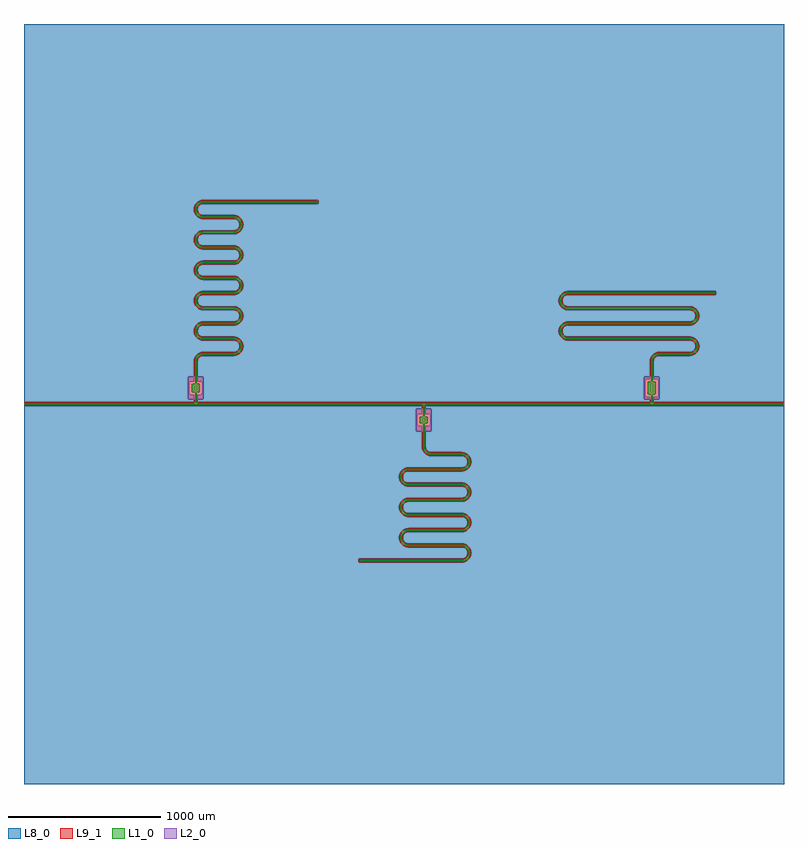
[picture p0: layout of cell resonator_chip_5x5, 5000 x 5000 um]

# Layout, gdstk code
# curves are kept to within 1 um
from math import pi, radians
import gdstk
lib = gdstk.Library(unit=1e-6, precision=1e-09)
def R(c, l, rs):  # rectangles x0, y0, x1, y1
    for r in rs: c.add(gdstk.rectangle(r[:2], r[2:], *l))
def P(c, l, *ps):  # polygons
    for p in ps: c.add(gdstk.Polygon(p, *l))
L1_0 = (1, 0)
L2_0 = (2, 0)
L8_0 = (8, 0)
L9_1 = (9, 1)

compass_92108daa = lib.new_cell('compass_92108daa')
R(compass_92108daa, L1_0, [(-5,-5,5,5)])

rectangle_92108daa = lib.new_cell('rectangle_92108daa')
rectangle_92108daa.add(gdstk.Reference(compass_92108daa, (5,5)))

compass_6da39e71 = lib.new_cell('compass_6da39e71')
R(compass_6da39e71, L9_1, [(-11,-11,11,11)])

rectangle_6da39e71 = lib.new_cell('rectangle_6da39e71')
rectangle_6da39e71.add(gdstk.Reference(compass_6da39e71, (11,11)))

straight_4537b3f4 = lib.new_cell('straight_4537b3f4')
R(straight_4537b3f4, L1_0, [(0,-5,25,5)])
R(straight_4537b3f4, L9_1, [(0,-11,25,11)])

straight_cpw_length25p0 = lib.new_cell('straight_cpw_length25p0')
straight_cpw_length25p0.add(gdstk.Reference(straight_4537b3f4, (0,0)))

tee_cpw = lib.new_cell('tee_cpw')
tee_cpw.add(gdstk.Reference(rectangle_92108daa, (-5,-5)))
tee_cpw.add(gdstk.Reference(rectangle_6da39e71, (-11,-11)))
tee_cpw.add(gdstk.Reference(straight_cpw_length25p0, (-30,0)))
tee_cpw.add(gdstk.Reference(straight_cpw_length25p0, (5,0)))
tee_cpw.add(gdstk.Reference(straight_cpw_length25p0, (0,5), rotation=pi/2))

straight_b8156830 = lib.new_cell('straight_b8156830')
R(straight_b8156830, L1_0, [(0,-5,1100,5)])
R(straight_b8156830, L9_1, [(0,-11,1100,11)])

straight_cpw_length1100 = lib.new_cell('straight_cpw_length1100')
straight_cpw_length1100.add(gdstk.Reference(straight_b8156830, (0,0)))

straight_48513559 = lib.new_cell('straight_48513559')
R(straight_48513559, L1_0, [(0,-5,340,5)])
R(straight_48513559, L9_1, [(0,-11,340,11)])

straight_cpw_length340 = lib.new_cell('straight_cpw_length340')
straight_cpw_length340.add(gdstk.Reference(straight_48513559, (0,0)))

unnamed_f8605676 = lib.new_cell('Unnamed_f8605676')
P(unnamed_f8605676, L1_0, [(-27.596,9.025),(-32.01,5.024),(-75,5),(-75,-5),(-31.525,-5.096),(-27.715,-8.549),(-26.635,-21.567),(-21.567,-26.635),(7.435,-27.5),(11.213,-25.843),(12.469,-21.978),(9.998,-18.173),(-11.569,-16.639),(-15.593,-13.38),(-17.503,-7.5),(-15.593,-1.62),(-11.569,1.639),(10.437,3.458),(12.497,7.5),(10.843,11.213),(-12.502,13.837),(-17.285,20.42),(-16.164,27.5),(-18.545,27.445),(-23.378,25.59),(-26.635,21.567)],
  [(31.525,5.096),(27.715,8.549),(26.635,21.567),(21.567,26.635),(-8.022,27.469),(-12.065,24.532),(-12.065,20.468),(-9.532,17.935),(9.58,17.285),(16.163,12.502),(17.285,5.42),(13.38,-0.593),(8.546,-2.449),(-8.539,-2.613),(-11.542,-4.563),(-12.497,-7.5),(-11.542,-10.437),(-8.539,-12.387),(8.546,-12.551),(13.38,-14.407),(17.285,-20.42),(16.164,-27.5),(21.567,-26.635),(25.59,-23.378),(27.445,-18.545),(27.715,-8.549),(30.587,-5.381),(75,-5),(75,5)])

unnamed_d2767df1 = lib.new_cell('Unnamed_d2767df1')
P(unnamed_d2767df1, L2_0, [(-47.01,11.024),(-42.596,15.025),(-42.011,35.59),(-36.567,41.635),(32.5,42.5),(38.378,40.59),(41.635,36.567),(42.524,15.51),(44.328,12.135),(47.5,11),(75,11),(75,50),(-75,50),(-75,11)],
  [(42.445,-33.545),(39.931,-39.191),(33.545,-42.445),(-34.579,-42.281),(-39.191,-39.931),(-42.011,-35.59),(-42.524,-15.51),(-44.328,-12.135),(-47.5,-11),(-75,-11),(-75,-50),(75,-50),(75,-11),(47.01,-11.024),(42.596,-15.025)])

round_rectangle_d51f9ed1 = lib.new_cell('round_rectangle_d51f9ed1')
R(round_rectangle_d51f9ed1, L9_1, [(-75,-50,75,50)])

finger_cap_6a03dcef = lib.new_cell('finger_cap_6a03dcef')
finger_cap_6a03dcef.add(gdstk.Reference(unnamed_f8605676, (0,0)))
finger_cap_6a03dcef.add(gdstk.Reference(unnamed_d2767df1, (0,0)))
finger_cap_6a03dcef.add(gdstk.Reference(round_rectangle_d51f9ed1, (0,0)))

straight_65ad680c = lib.new_cell('straight_65ad680c')
R(straight_65ad680c, L1_0, [(0,-5,100,5)])
R(straight_65ad680c, L9_1, [(0,-11,100,11)])

straight_cpw_length100p0 = lib.new_cell('straight_cpw_length100p0')
straight_cpw_length100p0.add(gdstk.Reference(straight_65ad680c, (0,0)))

bend_circular_f007348f = lib.new_cell('bend_circular_f007348f')
P(bend_circular_f007348f, L1_0, [(0,-5),(10.764,-3.936),(21.112,-0.787),(30.643,4.327),(38.793,11.011),(45.673,19.357),(50.787,28.888),(53.936,39.236),(55,50),(45,50),(42.448,35.061),(34.938,21.639),(27.828,14.636),(19.349,9.372),(10.14,6.157),(0,5)])

bend_circular_29112c67 = lib.new_cell('bend_circular_29112c67')
P(bend_circular_29112c67, L9_1, [(0,-11),(11.636,-9.88),(23.13,-6.445),(33.73,-0.826),(43.024,6.758),(50.655,16.014),(56.327,26.585),(59.82,38.062),(61,50),(39,50),(36.088,35.212),(27.647,22.493),(14.788,13.912),(0,11)])

bend_cpw_circular_radius = lib.new_cell('bend_cpw_circular_radius_um50p0')
bend_cpw_circular_radius.add(gdstk.Reference(bend_circular_f007348f, (0,0)))
bend_cpw_circular_radius.add(gdstk.Reference(bend_circular_29112c67, (0,0)))

straight_8fd375c3 = lib.new_cell('straight_8fd375c3')
R(straight_8fd375c3, L1_0, [(0,-5,200,5)])
R(straight_8fd375c3, L9_1, [(0,-11,200,11)])

straight_cpw_length200p0 = lib.new_cell('straight_cpw_length200p0')
straight_cpw_length200p0.add(gdstk.Reference(straight_8fd375c3, (0,0)))

bend_circular_932d1048 = lib.new_cell('bend_circular_932d1048')
P(bend_circular_932d1048, L1_0, [(0,-5),(17.221,-8.425),(31.82,-18.18),(41.575,-32.779),(45,-50),(42.389,-65.107),(34.857,-78.46),(27.93,-85.283),(19.496,-90.558),(10.108,-93.85),(0,-95),(0,-105),(10.73,-103.943),(21.048,-100.813),(30.556,-95.731),(38.891,-88.891),(45.731,-80.556),(50.813,-71.048),(53.943,-60.73),(55,-50),(53.656,-37.916),(49.808,-26.672),(43.465,-16.299),(34.999,-7.572),(20.535,1.023),(4.15,4.843),(0,5)])

bend_circular_7dd6c8cd = lib.new_cell('bend_circular_7dd6c8cd')
P(bend_circular_7dd6c8cd, L9_1, [(0,-11),(14.743,-13.894),(27.438,-22.284),(35.956,-34.894),(39,-50),(36.106,-64.743),(27.716,-77.438),(15.106,-85.956),(0,-89),(0,-111),(11.901,-109.828),(23.344,-106.357),(33.89,-100.72),(43.134,-93.134),(50.72,-83.89),(56.357,-73.344),(59.828,-61.901),(61,-50),(59.153,-35.104),(53.579,-20.839),(44.627,-8.413),(32.862,1.392),(16.971,8.592),(0,11)])

bend_cpw_circular_e485e0 = lib.new_cell('bend_cpw_circular_e485e01f')
bend_cpw_circular_e485e0.add(gdstk.Reference(bend_circular_932d1048, (0,0)))
bend_cpw_circular_e485e0.add(gdstk.Reference(bend_circular_7dd6c8cd, (0,0)))

straight_75582163 = lib.new_cell('straight_75582163')
R(straight_75582163, L1_0, [(0,-5,200,5)])
R(straight_75582163, L9_1, [(0,-11,200,11)])

straight_cpw_length200 = lib.new_cell('straight_cpw_length200')
straight_cpw_length200.add(gdstk.Reference(straight_75582163, (0,0)))

bend_circular_996459f7 = lib.new_cell('bend_circular_996459f7')
P(bend_circular_996459f7, L1_0, [(0,-5),(10.73,-3.943),(21.048,-0.813),(30.556,4.269),(38.891,11.109),(45.731,19.444),(50.813,28.952),(53.943,39.27),(55,50),(53.943,60.73),(50.813,71.048),(45.731,80.556),(38.891,88.891),(30.556,95.731),(21.048,100.813),(10.73,103.943),(0,105),(0,95),(10.108,93.85),(19.496,90.558),(27.93,85.283),(34.857,78.46),(42.389,65.107),(45,50),(42.389,34.893),(34.857,21.54),(27.93,14.717),(19.496,9.442),(10.108,6.15),(0,5)])

bend_circular_fabf7ef7 = lib.new_cell('bend_circular_fabf7ef7')
P(bend_circular_fabf7ef7, L9_1, [(0,-11),(11.901,-9.828),(23.344,-6.357),(33.89,-0.72),(43.134,6.866),(50.72,16.11),(56.357,26.656),(59.828,38.099),(61,50),(59.828,61.901),(56.357,73.344),(50.72,83.89),(43.134,93.134),(33.89,100.72),(23.344,106.357),(11.901,109.828),(0,111),(0,89),(14.743,86.106),(27.438,77.716),(35.956,65.106),(39,50),(36.106,35.257),(27.716,22.562),(15.106,14.044),(0,11)])

bend_cpw_circular_angle_ = lib.new_cell('bend_cpw_circular_angle_deg180_radius_um50p0')
bend_cpw_circular_angle_.add(gdstk.Reference(bend_circular_996459f7, (0,0)))
bend_cpw_circular_angle_.add(gdstk.Reference(bend_circular_fabf7ef7, (0,0)))

straight_671bcddd = lib.new_cell('straight_671bcddd')
R(straight_671bcddd, L1_0, [(0,-5,550.287,5)])
R(straight_671bcddd, L9_1, [(0,-11,550.287,11)])

straight_cpw_length550p2 = lib.new_cell('straight_cpw_length550p28733')
straight_cpw_length550p2.add(gdstk.Reference(straight_671bcddd, (0,0)))

compass_87d9bab0 = lib.new_cell('compass_87d9bab0')
R(compass_87d9bab0, L9_1, [(-3,-11,3,11)])

rectangle_87d9bab0 = lib.new_cell('rectangle_87d9bab0')
rectangle_87d9bab0.add(gdstk.Reference(compass_87d9bab0, (3,11)))

open_stud = lib.new_cell('open_stud')
open_stud.add(gdstk.Reference(rectangle_87d9bab0, (0,0)))

quarter_wave_resonator_c = lib.new_cell('quarter_wave_resonator_circular_meander_56364adf')
quarter_wave_resonator_c.add(gdstk.Reference(straight_cpw_length100p0, (0,0)))
quarter_wave_resonator_c.add(gdstk.Reference(bend_cpw_circular_radius, (100,0)))
quarter_wave_resonator_c.add(gdstk.Reference(straight_cpw_length200p0, (150,50), rotation=pi/2))
quarter_wave_resonator_c.add(gdstk.Reference(bend_cpw_circular_e485e0, (150,250), rotation=pi/2))
quarter_wave_resonator_c.add(gdstk.Reference(straight_cpw_length200, (250,250), rotation=3*pi/2))
quarter_wave_resonator_c.add(gdstk.Reference(bend_cpw_circular_angle_, (250,50), rotation=3*pi/2))
quarter_wave_resonator_c.add(gdstk.Reference(straight_cpw_length200, (350,50), rotation=pi/2))
quarter_wave_resonator_c.add(gdstk.Reference(bend_cpw_circular_e485e0, (350,250), rotation=pi/2))
quarter_wave_resonator_c.add(gdstk.Reference(straight_cpw_length200, (450,250), rotation=3*pi/2))
quarter_wave_resonator_c.add(gdstk.Reference(bend_cpw_circular_angle_, (450,50), rotation=3*pi/2))
quarter_wave_resonator_c.add(gdstk.Reference(straight_cpw_length200, (550,50), rotation=pi/2))
quarter_wave_resonator_c.add(gdstk.Reference(bend_cpw_circular_e485e0, (550,250), rotation=pi/2))
quarter_wave_resonator_c.add(gdstk.Reference(straight_cpw_length200, (650,250), rotation=3*pi/2))
quarter_wave_resonator_c.add(gdstk.Reference(bend_cpw_circular_angle_, (650,50), rotation=3*pi/2))
quarter_wave_resonator_c.add(gdstk.Reference(straight_cpw_length200, (750,50), rotation=pi/2))
quarter_wave_resonator_c.add(gdstk.Reference(bend_cpw_circular_e485e0, (750,250), rotation=pi/2))
quarter_wave_resonator_c.add(gdstk.Reference(straight_cpw_length200, (850,250), rotation=3*pi/2))
quarter_wave_resonator_c.add(gdstk.Reference(bend_cpw_circular_angle_, (850,50), rotation=3*pi/2))
quarter_wave_resonator_c.add(gdstk.Reference(straight_cpw_length200, (950,50), rotation=pi/2))
quarter_wave_resonator_c.add(gdstk.Reference(bend_cpw_circular_e485e0, (950,250), rotation=pi/2))
quarter_wave_resonator_c.add(gdstk.Reference(straight_cpw_length200, (1050,250), rotation=3*pi/2))
quarter_wave_resonator_c.add(gdstk.Reference(bend_cpw_circular_angle_, (1050,50), rotation=3*pi/2))
quarter_wave_resonator_c.add(gdstk.Reference(straight_cpw_length200, (1150,50), rotation=pi/2))
quarter_wave_resonator_c.add(gdstk.Reference(straight_cpw_length550p2, (1150,250), rotation=pi/2))
quarter_wave_resonator_c.add(gdstk.Reference(open_stud, (1161,800.287), rotation=pi/2))

build_resonator_741041c7 = lib.new_cell('build_resonator_741041c7')
build_resonator_741041c7.add(gdstk.Reference(tee_cpw, (0,0)))
build_resonator_741041c7.add(gdstk.Reference(straight_cpw_length1100, (-30,0), rotation=pi))
build_resonator_741041c7.add(gdstk.Reference(straight_cpw_length340, (30,0)))
build_resonator_741041c7.add(gdstk.Reference(finger_cap_6a03dcef, (0,105), rotation=pi/2))
build_resonator_741041c7.add(gdstk.Reference(quarter_wave_resonator_c, (0,180), rotation=pi/2, x_reflection=True))

unnamed_66ed3d70 = lib.new_cell('Unnamed_66ed3d70')
P(unnamed_66ed3d70, L1_0, [(-42.596,9.025),(-47.01,5.024),(-75,5),(-75,-5),(-45.143,-5.59),(-42.596,-9.025),(-41.635,-21.567),(-36.567,-26.635),(22.435,-27.5),(27.065,-24.532),(26.827,-20.002),(23.022,-17.531),(-25.591,-17.014),(-29.934,-14.194),(-32.449,-8.546),(-30.593,-1.62),(-24.58,2.285),(24.044,2.748),(27.497,7.5),(24.532,12.065),(-25.591,12.986),(-31.639,18.431),(-32.449,23.546),(-31.164,27.5),(-32.5,27.5),(-37.5,26.16),(-41.16,22.5)],
  [(46.525,5.096),(42.715,8.549),(41.16,22.5),(34.579,27.281),(-23.022,27.469),(-27.387,23.539),(-26.542,19.563),(-23.022,17.531),(22.565,17.5),(29.194,14.934),(31.639,11.569),(32.449,6.454),(30.593,1.62),(26.569,-1.639),(-23.022,-2.531),(-26.213,-4.157),(-27.497,-7.5),(-26.213,-10.843),(-23.022,-12.469),(25.591,-12.986),(31.639,-18.431),(32.449,-23.546),(31.164,-27.5),(36.567,-26.635),(41.16,-22.5),(42.596,-9.025),(45.143,-5.59),(75,-5),(75,5)])

unnamed_54cf206d = lib.new_cell('Unnamed_54cf206d')
P(unnamed_54cf206d, L2_0, [(-62.01,11.024),(-57.596,15.025),(-57.011,35.59),(-54.931,39.191),(-50.59,42.011),(47.5,42.5),(53.378,40.59),(57.011,35.59),(58.635,12.828),(62.01,11.024),(75,11),(75,50),(-75,50),(-75,11)],
  [(57.445,-33.545),(54.931,-39.191),(48.545,-42.445),(-49.579,-42.281),(-54.191,-39.931),(-57.011,-35.59),(-58.635,-12.828),(-62.01,-11.024),(-75,-11),(-75,-50),(75,-50),(75,-11),(62.01,-11.024),(57.596,-15.025)])

finger_cap_2d72bd7e = lib.new_cell('finger_cap_2d72bd7e')
finger_cap_2d72bd7e.add(gdstk.Reference(unnamed_66ed3d70, (0,0)))
finger_cap_2d72bd7e.add(gdstk.Reference(unnamed_54cf206d, (0,0)))
finger_cap_2d72bd7e.add(gdstk.Reference(round_rectangle_d51f9ed1, (0,0)))

straight_62f3e33c = lib.new_cell('straight_62f3e33c')
R(straight_62f3e33c, L1_0, [(0,-5,800,5)])
R(straight_62f3e33c, L9_1, [(0,-11,800,11)])

straight_cpw_length800 = lib.new_cell('straight_cpw_length800')
straight_cpw_length800.add(gdstk.Reference(straight_62f3e33c, (0,0)))

straight_e54fd979 = lib.new_cell('straight_e54fd979')
R(straight_e54fd979, L1_0, [(0,-5,164.204,5)])
R(straight_e54fd979, L9_1, [(0,-11,164.204,11)])

straight_cpw_length164p2 = lib.new_cell('straight_cpw_length164p204456')
straight_cpw_length164p2.add(gdstk.Reference(straight_e54fd979, (0,0)))

c_quarter_wave_resonator_c = lib.new_cell('quarter_wave_resonator_circular_meander_84c7ca04')
c_quarter_wave_resonator_c.add(gdstk.Reference(straight_cpw_length100p0, (0,0)))
c_quarter_wave_resonator_c.add(gdstk.Reference(bend_cpw_circular_radius, (100,0)))
c_quarter_wave_resonator_c.add(gdstk.Reference(straight_cpw_length200p0, (150,50), rotation=pi/2))
c_quarter_wave_resonator_c.add(gdstk.Reference(bend_cpw_circular_e485e0, (150,250), rotation=pi/2))
c_quarter_wave_resonator_c.add(gdstk.Reference(straight_cpw_length800, (250,250), rotation=3*pi/2))
c_quarter_wave_resonator_c.add(gdstk.Reference(bend_cpw_circular_angle_, (250,-550), rotation=3*pi/2))
c_quarter_wave_resonator_c.add(gdstk.Reference(straight_cpw_length800, (350,-550), rotation=pi/2))
c_quarter_wave_resonator_c.add(gdstk.Reference(bend_cpw_circular_e485e0, (350,250), rotation=pi/2))
c_quarter_wave_resonator_c.add(gdstk.Reference(straight_cpw_length800, (450,250), rotation=3*pi/2))
c_quarter_wave_resonator_c.add(gdstk.Reference(bend_cpw_circular_angle_, (450,-550), rotation=3*pi/2))
c_quarter_wave_resonator_c.add(gdstk.Reference(straight_cpw_length800, (550,-550), rotation=pi/2))
c_quarter_wave_resonator_c.add(gdstk.Reference(straight_cpw_length164p2, (550,250), rotation=pi/2))
c_quarter_wave_resonator_c.add(gdstk.Reference(open_stud, (561,414.204), rotation=pi/2))

build_resonator_finger_o = lib.new_cell('build_resonator_finger_overlap_um55')
build_resonator_finger_o.add(gdstk.Reference(tee_cpw, (0,0)))
build_resonator_finger_o.add(gdstk.Reference(straight_cpw_length1100, (-30,0), rotation=pi))
build_resonator_finger_o.add(gdstk.Reference(straight_cpw_length340, (30,0)))
build_resonator_finger_o.add(gdstk.Reference(finger_cap_2d72bd7e, (0,105), rotation=pi/2))
build_resonator_finger_o.add(gdstk.Reference(c_quarter_wave_resonator_c, (0,180), rotation=pi/2, x_reflection=True))

unnamed_cbf86004 = lib.new_cell('Unnamed_cbf86004')
P(unnamed_cbf86004, L1_0, [(-22.596,9.025),(-27.01,5.024),(-75,5),(-75,-5),(-26.049,-5.215),(-22.881,-8.087),(-22.281,-19.579),(-18.378,-25.59),(-13.545,-27.445),(4.044,-27.252),(7.252,-24.044),(6.542,-19.563),(3.539,-17.613),(-4.58,-17.285),(-8.38,-15.593),(-11.639,-11.569),(-12.449,-6.454),(-10.593,-1.62),(-7.502,1.163),(5.843,3.787),(7.469,6.978),(6.542,10.437),(4.044,12.252),(-4.58,12.715),(-9.194,15.066),(-12.285,20.42),(-11.164,27.5),(-12.5,27.5),(-17.5,26.16),(-21.16,22.5)],
  [(26.525,5.096),(22.881,8.087),(22.011,20.59),(17.5,26.16),(13.545,27.445),(-3.022,27.469),(-7.065,24.532),(-7.252,20.956),(-5.437,18.458),(6.569,16.639),(12.014,10.591),(12.285,5.42),(9.194,0.066),(4.58,-2.285),(-4.532,-2.935),(-7.497,-7.5),(-4.532,-12.065),(4.58,-12.715),(9.934,-15.806),(12.449,-21.454),(11.164,-27.5),(16.567,-26.635),(20.59,-23.378),(22.445,-18.545),(22.715,-8.549),(26.049,-5.215),(75,-5),(75,5)])

unnamed_15232ae6 = lib.new_cell('Unnamed_15232ae6')
P(unnamed_15232ae6, L2_0, [(-42.01,11.024),(-37.596,15.025),(-37.011,35.59),(-31.567,41.635),(27.5,42.5),(33.378,40.59),(36.635,36.567),(37.524,15.51),(39.722,11.843),(75,11),(75,50),(-75,50),(-75,11)],
  [(37.445,-33.545),(34.931,-39.191),(28.545,-42.445),(-29.579,-42.281),(-34.191,-39.931),(-37.011,-35.59),(-37.524,-15.51),(-39.722,-11.843),(-75,-11),(-75,-50),(75,-50),(75,-11),(40.143,-11.59),(37.524,-15.51)])

finger_cap_b7999120 = lib.new_cell('finger_cap_b7999120')
finger_cap_b7999120.add(gdstk.Reference(unnamed_cbf86004, (0,0)))
finger_cap_b7999120.add(gdstk.Reference(unnamed_15232ae6, (0,0)))
finger_cap_b7999120.add(gdstk.Reference(round_rectangle_d51f9ed1, (0,0)))

straight_8cc51615 = lib.new_cell('straight_8cc51615')
R(straight_8cc51615, L1_0, [(0,-5,350,5)])
R(straight_8cc51615, L9_1, [(0,-11,350,11)])

straight_cpw_length350 = lib.new_cell('straight_cpw_length350')
straight_cpw_length350.add(gdstk.Reference(straight_8cc51615, (0,0)))

straight_acb8a7a9 = lib.new_cell('straight_acb8a7a9')
R(straight_acb8a7a9, L1_0, [(0,-5,321.547,5)])
R(straight_acb8a7a9, L9_1, [(0,-11,321.547,11)])

straight_cpw_length321p5 = lib.new_cell('straight_cpw_length321p547146')
straight_cpw_length321p5.add(gdstk.Reference(straight_acb8a7a9, (0,0)))

c_quarter_wave_resonator_c_ = lib.new_cell('quarter_wave_resonator_circular_meander_97438576')
c_quarter_wave_resonator_c_.add(gdstk.Reference(straight_cpw_length100p0, (0,0)))
c_quarter_wave_resonator_c_.add(gdstk.Reference(bend_cpw_circular_radius, (100,0)))
c_quarter_wave_resonator_c_.add(gdstk.Reference(straight_cpw_length200p0, (150,50), rotation=pi/2))
c_quarter_wave_resonator_c_.add(gdstk.Reference(bend_cpw_circular_e485e0, (150,250), rotation=pi/2))
c_quarter_wave_resonator_c_.add(gdstk.Reference(straight_cpw_length350, (250,250), rotation=3*pi/2))
c_quarter_wave_resonator_c_.add(gdstk.Reference(bend_cpw_circular_angle_, (250,-100), rotation=3*pi/2))
c_quarter_wave_resonator_c_.add(gdstk.Reference(straight_cpw_length350, (350,-100), rotation=pi/2))
c_quarter_wave_resonator_c_.add(gdstk.Reference(bend_cpw_circular_e485e0, (350,250), rotation=pi/2))
c_quarter_wave_resonator_c_.add(gdstk.Reference(straight_cpw_length350, (450,250), rotation=3*pi/2))
c_quarter_wave_resonator_c_.add(gdstk.Reference(bend_cpw_circular_angle_, (450,-100), rotation=3*pi/2))
c_quarter_wave_resonator_c_.add(gdstk.Reference(straight_cpw_length350, (550,-100), rotation=pi/2))
c_quarter_wave_resonator_c_.add(gdstk.Reference(bend_cpw_circular_e485e0, (550,250), rotation=pi/2))
c_quarter_wave_resonator_c_.add(gdstk.Reference(straight_cpw_length350, (650,250), rotation=3*pi/2))
c_quarter_wave_resonator_c_.add(gdstk.Reference(bend_cpw_circular_angle_, (650,-100), rotation=3*pi/2))
c_quarter_wave_resonator_c_.add(gdstk.Reference(straight_cpw_length350, (750,-100), rotation=pi/2))
c_quarter_wave_resonator_c_.add(gdstk.Reference(bend_cpw_circular_e485e0, (750,250), rotation=pi/2))
c_quarter_wave_resonator_c_.add(gdstk.Reference(straight_cpw_length350, (850,250), rotation=3*pi/2))
c_quarter_wave_resonator_c_.add(gdstk.Reference(straight_cpw_length321p5, (850,-100), rotation=3*pi/2))
c_quarter_wave_resonator_c_.add(gdstk.Reference(open_stud, (839,-421.547), rotation=3*pi/2))

build_resonator_eca9d666 = lib.new_cell('build_resonator_eca9d666')
build_resonator_eca9d666.add(gdstk.Reference(tee_cpw, (0,0)))
build_resonator_eca9d666.add(gdstk.Reference(straight_cpw_length1100, (-30,0), rotation=pi))
build_resonator_eca9d666.add(gdstk.Reference(straight_cpw_length340, (30,0)))
build_resonator_eca9d666.add(gdstk.Reference(finger_cap_b7999120, (0,105), rotation=pi/2))
build_resonator_eca9d666.add(gdstk.Reference(c_quarter_wave_resonator_c_, (0,180), rotation=pi/2, x_reflection=True))

straight_d40176a0 = lib.new_cell('straight_d40176a0')
R(straight_d40176a0, L1_0, [(0,-5,500,5)])
R(straight_d40176a0, L9_1, [(0,-11,500,11)])

straight_cpw_length500 = lib.new_cell('straight_cpw_length500')
straight_cpw_length500.add(gdstk.Reference(straight_d40176a0, (0,0)))

unnamed_fb434074 = lib.new_cell('Unnamed_fb434074')
R(unnamed_fb434074, L8_0, [(-1359,11,-1351.06,30), (-1112.647,1341,-1081.001,2500)])
P(unnamed_fb434074, L8_0, [(-1381,30),(-1420,30),(-1420,180),(-1381,180),(-1380.997,280.616),(-1379.88,291.636),(-1376.088,303.983),(-1369.781,315.254),(-1361.243,324.945),(-1351.06,332.5),(-1351.06,427.5),(-1363.566,437.303),(-1372.98,449.766),(-1378.922,464.212),(-1381,480),(-1378.922,495.788),(-1372.98,510.234),(-1363.566,522.697),(-1351.06,532.5),(-1351.06,627.5),(-1363.566,637.303),(-1372.98,649.766),(-1378.922,664.212),(-1381,680),(-1378.922,695.788),(-1372.98,710.234),(-1363.566,722.697),(-1351.06,732.5),(-1351.06,827.5),(-1363.566,837.303),(-1372.98,849.766),(-1378.922,864.212),(-1381,880),(-1378.922,895.788),(-1372.98,910.234),(-1363.566,922.697),(-1351.06,932.5),(-1351.06,1027.5),(-1363.566,1037.303),(-1372.98,1049.766),(-1378.922,1064.212),(-1381,1080),(-1378.922,1095.788),(-1372.98,1110.234),(-1363.566,1122.697),(-1351.06,1132.5),(-1351.06,1227.5),(-1363.566,1237.303),(-1372.98,1249.766),(-1378.922,1264.212),(-1381,1280),(-1378.922,1295.788),(-1372.98,1310.234),(-1363.566,1322.697),(-1351.06,1332.5),(-1351.06,2500),(-2500,2500),(-2500,11),(-1381,11)],
  [(-1351.06,1303.586),(-1356.993,1292.35),(-1359,1280),(-1356.993,1267.65),(-1351.06,1256.414)],
  [(-1351.06,1103.586),(-1356.993,1092.35),(-1359,1080),(-1356.993,1067.65),(-1351.06,1056.414)],
  [(-1351.06,903.586),(-1356.993,892.35),(-1359,880),(-1356.993,867.65),(-1351.06,856.414)],
  [(-1351.06,703.586),(-1356.993,692.35),(-1359,680),(-1356.993,667.65),(-1351.06,656.414)],
  [(-1351.06,503.586),(-1356.993,492.35),(-1359,480),(-1356.993,467.65),(-1351.06,456.414)],
  [(-1351.06,303.585),(-1356.519,293.688),(-1358.916,282.559),(-1359,180),(-1351.06,180)],
  [(-1351.03,1332.518),(-1336.971,1338.592),(-1322.149,1340.962),(-1112.647,1341),(-1112.647,2500),(-1351.06,2500)],
  [(-1320,1319),(-1328.952,1317.959),(-1337.425,1314.891),(-1344.968,1309.96),(-1351.06,1303.586),(-1351.06,1256.414),(-1343.272,1248.704),(-1333.83,1243.534),(-1320.589,1241.004),(-1112.647,1240.555),(-1112.647,1319)],
  [(-1351.03,1132.518),(-1337.266,1138.505),(-1322.456,1140.951),(-1112.647,1141.7),(-1112.647,1218.3),(-1322.456,1219.049),(-1337.266,1221.495),(-1351.06,1227.5)],
  [(-1112.647,1119.445),(-1320.393,1118.998),(-1330.094,1117.671),(-1341.83,1112.318),(-1351.06,1103.586),(-1351.06,1056.414),(-1338.471,1045.651),(-1322.747,1041.097),(-1112.647,1040.555)],
  [(-1351.03,932.518),(-1337.266,938.505),(-1322.456,940.951),(-1112.647,941.7),(-1112.647,1018.3),(-1322.456,1019.049),(-1337.266,1021.495),(-1351.06,1027.5)],
  [(-1112.647,919.445),(-1320.393,918.998),(-1330.094,917.671),(-1341.83,912.318),(-1351.06,903.586),(-1351.06,856.414),(-1338.471,845.651),(-1322.747,841.097),(-1112.647,840.555)],
  [(-1351.03,732.518),(-1337.266,738.505),(-1322.456,740.951),(-1112.647,741.7),(-1112.647,818.3),(-1322.456,819.049),(-1337.266,821.495),(-1351.06,827.5)],
  [(-1112.647,719.445),(-1320.393,718.998),(-1330.094,717.671),(-1341.83,712.318),(-1351.06,703.586),(-1351.06,656.414),(-1338.471,645.651),(-1322.747,641.097),(-1112.647,640.555)],
  [(-1351.03,532.518),(-1337.266,538.505),(-1322.456,540.951),(-1112.647,541.7),(-1112.647,618.3),(-1322.456,619.049),(-1337.266,621.495),(-1351.06,627.5)],
  [(-1112.647,519.445),(-1320.393,518.998),(-1330.094,517.671),(-1341.83,512.318),(-1351.06,503.586),(-1351.06,456.414),(-1338.471,445.651),(-1322.747,441.097),(-1112.647,440.555)],
  [(-1350.855,332.621),(-1337.024,338.576),(-1322.156,340.962),(-1112.647,341.7),(-1112.647,418.3),(-1322.456,419.049),(-1337.266,421.495),(-1351.06,427.5)],
  [(-1112.647,319.445),(-1322.559,318.916),(-1338.178,314.505),(-1350.891,303.807),(-1351.06,180),(-1320,180),(-1320,30),(-1351.06,30),(-1351.06,11),(-1112.647,11)],
  [(-1112.647,1319),(-1112.647,1240.555),(-1095.808,1235.998),(-1081.001,1226.905),(-1081.001,1319)],
  [(-1112.391,1141.749),(-1099.992,1146.523),(-1089.79,1155.335),(-1083.263,1166.908),(-1081.001,1180.196),(-1083.397,1193.462),(-1090.04,1204.968),(-1100.161,1213.577),(-1112.647,1218.3)],
  [(-1081.001,1133.095),(-1095.808,1124.002),(-1112.647,1119.445),(-1112.647,1040.555),(-1095.808,1035.998),(-1081.001,1026.905)],
  [(-1112.391,941.749),(-1099.992,946.523),(-1089.79,955.335),(-1083.263,966.908),(-1081.001,980.196),(-1083.397,993.462),(-1090.04,1004.968),(-1100.161,1013.577),(-1112.647,1018.3)],
  [(-1081.001,933.095),(-1095.808,924.002),(-1112.647,919.445),(-1112.647,840.555),(-1095.808,835.998),(-1081.001,826.905)],
  [(-1112.391,741.749),(-1099.992,746.523),(-1089.79,755.335),(-1083.263,766.908),(-1081.001,780.196),(-1083.397,793.462),(-1090.04,804.968),(-1100.161,813.577),(-1112.647,818.3)],
  [(-1081.001,733.095),(-1095.808,724.002),(-1112.647,719.445),(-1112.647,640.555),(-1095.808,635.998),(-1081.001,626.905)],
  [(-1112.391,541.749),(-1099.992,546.523),(-1089.79,555.335),(-1083.263,566.908),(-1081.001,580.196),(-1083.397,593.462),(-1090.04,604.968),(-1100.161,613.577),(-1112.647,618.3)],
  [(-1081.001,533.095),(-1095.808,524.002),(-1112.647,519.445),(-1112.647,440.555),(-1095.808,435.998),(-1081.001,426.905)],
  [(-1112.391,341.749),(-1099.992,346.523),(-1089.79,355.335),(-1083.263,366.908),(-1081.001,380.196),(-1083.397,393.462),(-1090.04,404.968),(-1100.161,413.577),(-1112.647,418.3)],
  [(-1081.001,333.095),(-1095.808,324.002),(-1112.647,319.445),(-1112.647,11),(-1081.001,11)],
  [(1061.852,421.762),(1044.594,430.327),(1030.867,443.848),(1022.043,460.975),(1019,480),(1022.043,499.025),(1030.867,516.152),(1044.594,529.673),(1061.852,538.238),(1061.852,621.762),(1044.594,630.327),(1030.867,643.848),(1022.043,660.975),(1019,680),(1022.043,699.025),(1030.867,716.152),(1044.594,729.673),(1061.852,738.238),(1061.852,2500),(-1081.001,2500),(-1081.001,1341),(-563.713,1341),(-563.713,1319),(-1081.001,1319),(-1081.001,1226.905),(-1071.793,1217.378),(-1064.889,1206.15),(-1060.491,1193.403),(-1059,1180),(-1060.491,1166.597),(-1064.889,1153.85),(-1071.793,1142.622),(-1081.001,1133.095),(-1081.001,1026.905),(-1071.793,1017.378),(-1064.889,1006.15),(-1060.491,993.403),(-1059,980),(-1060.491,966.597),(-1064.889,953.85),(-1071.793,942.622),(-1081.001,933.095),(-1081.001,826.905),(-1071.793,817.378),(-1064.889,806.15),(-1060.491,793.403),(-1059,780),(-1060.491,766.597),(-1064.889,753.85),(-1071.793,742.622),(-1081.001,733.095),(-1081.001,626.905),(-1071.793,617.378),(-1064.889,606.15),(-1060.491,593.403),(-1059,580),(-1060.491,566.597),(-1064.889,553.85),(-1071.793,542.622),(-1081.001,533.095),(-1081.001,426.905),(-1071.793,417.378),(-1064.889,406.15),(-1060.491,393.403),(-1059,380),(-1060.491,366.597),(-1064.889,353.85),(-1071.793,342.622),(-1081.001,333.095),(-1081.001,11),(1061.852,11)],
  [(-1081,1180),(-1081.001,1180.196),(-1081.001,1179.804)],
  [(-1081,980),(-1081.001,980.196),(-1081.001,979.804)],
  [(-1081,780),(-1081.001,780.196),(-1081.001,779.804)],
  [(1061.852,714.52),(1053.126,708.263),(1046.523,700.008),(1042.432,690.473),(1041,680),(1042.432,669.527),(1046.523,659.992),(1053.126,651.737),(1061.852,645.48)],
  [(-1081,580),(-1081.001,580.196),(-1081.001,579.804)],
  [(1061.852,514.52),(1053.126,508.263),(1046.523,500.008),(1042.432,490.473),(1041,480),(1042.432,469.527),(1046.523,459.992),(1053.126,451.737),(1061.852,445.48)],
  [(-1081,380),(-1081.001,380.196),(-1081.001,379.804)],
  [(1062.44,738.418),(1080,741),(2050.204,741),(2050.204,719),(1080,719),(1068.773,717.349),(1061.852,714.52),(1061.852,645.48),(1073.938,641.474),(1884.296,640.849),(1895.788,638.922),(1906.704,634.844),(1916.645,628.766),(1925.25,620.908),(1932.203,611.558),(1937.251,601.056),(1940.16,590.088),(1940.981,578.465),(1939.705,567.498),(1936.357,556.656),(1931.226,546.88),(1924.206,537.966),(1915.905,530.686),(1906.15,524.889),(1895.491,521),(1884.296,519.151),(1074.132,518.556),(1061.852,514.52),(1061.852,445.48),(1070.476,442.181),(1079.607,441.002),(1881.228,440.988),(1899.898,437.663),(1916.645,428.766),(1927.828,417.861),(1935.875,404.474),(1940.259,389.482),(1940.691,373.868),(1937.144,358.657),(1929.851,344.844),(1919.288,333.337),(1906.15,324.889),(1894.3,320.7),(1881.535,319.019),(1676.459,318.839),(1660.103,313.543),(1647.504,301.565),(1643.02,292.388),(1641.06,282.166),(1641,180),(1680,180),(1680,30),(1641,30),(1641,11),(2500,11),(2500,2500),(1061.852,2500)],
  [(1062.146,538.329),(1079.693,540.999),(1881.963,541.049),(1896.719,544.765),(1908.93,553.846),(1916.737,566.908),(1918.951,581.963),(1915.644,595.827),(1907.716,607.438),(1896.006,615.564),(1881.963,618.951),(1079.693,619.001),(1061.852,621.762)],
  [(1619,30),(1580,30),(1580,180),(1619,180),(1619.225,285.231),(1622.88,301.409),(1630.941,316.253),(1639.443,325.565),(1649.678,332.93),(1661.502,338.128),(1673.849,340.689),(1880.589,341.004),(1893.092,343.263),(1902.477,348.128),(1910.21,355.335),(1915.802,364.533),(1918.64,374.715),(1918.64,385.285),(1915.802,395.467),(1910.21,404.665),(1902.477,411.872),(1892.164,417.055),(1880.589,418.996),(1079.693,419.001),(1061.852,421.762),(1061.852,11),(1619,11)],
  [(17.798,-1041),(-297.547,-1041),(-297.547,-1019),(17.798,-1019),(17.798,-939.767),(-1.558,-932.203),(-17.251,-918.579),(-27.46,-900.478),(-31,-880),(-27.46,-859.522),(-17.251,-841.421),(-1.558,-827.797),(17.798,-820.233),(17.798,-739.767),(-1.558,-732.203),(-17.251,-718.579),(-27.46,-700.478),(-31,-680),(-27.46,-659.522),(-17.251,-641.421),(-1.558,-627.797),(17.798,-620.233),(17.798,-539.767),(-1.558,-532.203),(-17.251,-518.579),(-27.46,-500.478),(-31,-480),(-27.46,-459.522),(-17.251,-441.421),(-1.558,-427.797),(17.798,-420.233),(17.798,-11),(-2500,-11),(-2500,-2500),(17.798,-2500)],
  [(17.798,-442.958),(7.045,-448.471),(-1.529,-457.045),(-7.055,-467.836),(-9,-480),(-7.055,-492.164),(-1.529,-502.955),(7.045,-511.529),(17.798,-517.042)],
  [(17.798,-642.958),(7.045,-648.471),(-1.529,-657.045),(-7.055,-667.836),(-9,-680),(-7.055,-692.164),(-1.529,-702.955),(7.045,-711.529),(17.798,-717.042)],
  [(17.798,-842.958),(7.045,-848.471),(-1.529,-857.045),(-7.055,-867.836),(-9,-880),(-7.055,-892.164),(-1.529,-902.955),(7.045,-911.529),(17.798,-917.042)],
  [(406.427,-11),(141,-11),(141,-30),(180,-30),(180,-180),(141,-180),(141.219,-284.129),(145.495,-298.178),(154.814,-309.777),(165.577,-316.235),(177.834,-318.94),(381.535,-319.019),(394.3,-320.7),(406.427,-325.022)],
  [(18.099,-420.172),(29.693,-419.001),(380.982,-418.988),(394.561,-416.18),(406.427,-408.681),(406.427,-351.319),(392.35,-343.007),(380.589,-341.004),(173.849,-340.689),(161.502,-338.128),(149.678,-332.93),(139.443,-325.565),(130.578,-315.755),(122.88,-301.409),(119.225,-285.231),(119,-180),(80,-180),(80,-30),(119,-30),(119,-11),(17.798,-11)],
  [(406.427,-434.978),(394.3,-439.3),(381.228,-440.988),(22.007,-441.828),(17.798,-442.958),(17.798,-517.042),(29.607,-518.998),(381.228,-519.012),(394.3,-520.7),(406.427,-525.022)],
  [(18.099,-620.172),(29.693,-619.001),(386.837,-618.396),(397.425,-614.891),(406.427,-608.681),(406.427,-551.319),(394.561,-543.82),(380.982,-541.012),(29.693,-540.999),(17.798,-539.767)],
  [(406.427,-634.978),(394.3,-639.3),(381.228,-640.988),(22.007,-641.828),(17.798,-642.958),(17.798,-717.042),(29.607,-718.998),(381.228,-719.012),(394.3,-720.7),(406.427,-725.022)],
  [(18.099,-820.172),(29.693,-819.001),(386.837,-818.396),(397.425,-814.891),(406.427,-808.681),(406.427,-751.319),(394.561,-743.82),(380.982,-741.012),(29.693,-740.999),(17.798,-739.767)],
  [(406.427,-834.978),(394.3,-839.3),(381.228,-840.988),(22.007,-841.828),(17.798,-842.958),(17.798,-917.042),(29.607,-918.998),(381.228,-919.012),(394.3,-920.7),(406.427,-925.022)],
  [(380,-1019),(394.196,-1016.325),(406.427,-1008.681),(406.427,-951.319),(397.95,-945.376),(388.377,-941.91),(29.693,-940.999),(17.798,-939.767),(17.798,-1019)],
  [(406.427,-1034.978),(394.001,-1039.371),(380.921,-1040.993),(17.798,-1041),(17.798,-2500),(406.427,-2500)],
  [(2500,-11),(406.427,-11),(406.427,-325.022),(420.451,-334.341),(431.557,-347.398),(438.592,-363.029),(441,-380),(438.592,-396.971),(431.557,-412.602),(420.451,-425.659),(406.427,-434.978),(406.427,-525.022),(420.451,-534.341),(431.557,-547.398),(438.592,-563.029),(441,-580),(438.592,-596.971),(431.557,-612.602),(420.451,-625.659),(406.427,-634.978),(406.427,-725.022),(420.451,-734.341),(431.557,-747.398),(438.592,-763.029),(441,-780),(438.592,-796.971),(431.557,-812.602),(420.451,-825.659),(406.427,-834.978),(406.427,-925.022),(420.451,-934.341),(431.557,-947.398),(438.592,-963.029),(441,-980),(438.592,-996.971),(431.557,-1012.602),(420.451,-1025.659),(406.427,-1034.978),(406.427,-2500),(2500,-2500)],
  [(406.588,-408.532),(411.872,-402.477),(415.802,-395.467),(419,-380),(415.802,-364.533),(411.872,-357.523),(406.427,-351.319)],
  [(406.588,-608.532),(411.872,-602.477),(415.802,-595.467),(419,-580),(415.802,-564.533),(411.872,-557.523),(406.427,-551.319)],
  [(406.588,-808.532),(411.872,-802.477),(415.802,-795.467),(419,-780),(415.802,-764.533),(411.872,-757.523),(406.427,-751.319)],
  [(406.588,-1008.532),(411.872,-1002.477),(415.802,-995.467),(419,-980),(415.802,-964.533),(411.872,-957.523),(406.427,-951.319)])

resonator_chip_5x5 = lib.new_cell('resonator_chip_5x5')
resonator_chip_5x5.add(gdstk.Reference(build_resonator_741041c7, (-1370,0)))
resonator_chip_5x5.add(gdstk.Reference(build_resonator_finger_o, (1630,0)))
resonator_chip_5x5.add(gdstk.Reference(build_resonator_eca9d666, (130,0), x_reflection=True))
resonator_chip_5x5.add(gdstk.Reference(straight_cpw_length500, (2000,0)))
resonator_chip_5x5.add(gdstk.Reference(unnamed_fb434074, (0,0)))

lib.write_gds('resonator_chip_5x5.gds')
